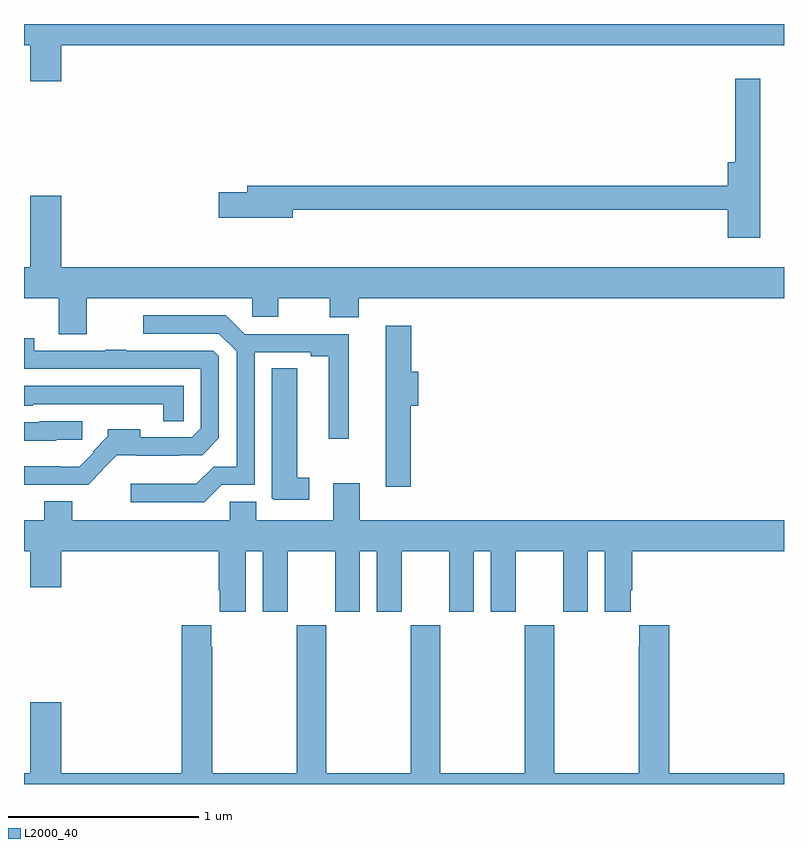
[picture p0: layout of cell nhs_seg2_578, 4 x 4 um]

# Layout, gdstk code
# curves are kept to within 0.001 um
import gdstk
lib = gdstk.Library(unit=1e-6, precision=1e-09)
def P(c, l, *ps):  # polygons
    for p in ps: c.add(gdstk.Polygon(p, *l))
L2000_40 = (2000, 40)

nhs_seg2_578 = lib.new_cell('nhs_seg2_578')
P(nhs_seg2_578, L2000_40, [(145,595.8),(141,595.8),(141,595.688),(141.032,595.688),(141.032,595.5),(141.196,595.5),(141.196,595.688),(145,595.688)],
  [(144.874,595.513),(144.743,595.513),(144.743,595.072),(144.704,595.072),(144.704,594.95),(142.175,594.95),(142.175,594.914),(142.026,594.914),(142.026,594.779),(142.414,594.779),(142.414,594.822),(144.704,594.822),(144.704,594.674),(144.874,594.674)],
  [(141.331,594.356),(142.2,594.356),(142.2,594.258),(142.339,594.258),(142.339,594.356),(142.61,594.356),(142.61,594.257),(142.763,594.257),(142.763,594.356),(145,594.356),(145,594.52),(141.196,594.52),(141.196,594.895),(141.032,594.895),(141.032,594.52),(141,594.52),(141,594.356),(141.184,594.356),(141.184,594.166),(141.331,594.166)],
  [(142.041,593.376),(142.215,593.376),(142.215,594.072),(142.508,594.072),(142.508,594.052),(142.604,594.052),(142.604,593.616),(142.708,593.616),(142.708,594.168),(142.162,594.168),(142.063,594.267),(141.627,594.267),(141.627,594.171),(142.026,594.171),(142.119,594.078),(142.119,593.471),(141.998,593.471),(141.907,593.38),(141.561,593.38),(141.561,593.283),(141.948,593.283)],
  [(143.036,593.792),(143.075,593.792),(143.075,593.97),(143.039,593.97),(143.039,594.211),(142.904,594.211),(142.904,593.364),(143.036,593.364)],
  [(141.415,593.453),(141.413,593.455),(141.487,593.529),(141.821,593.528),(141.821,593.53),(141.937,593.53),(142.026,593.619),(142.026,594.051),(141.996,594.081),(141.539,594.081),(141.539,594.086),(141.427,594.086),(141.427,594.081),(141.054,594.081),(141.054,594.145),(141,594.145),(141,593.985),(141.93,593.985),(141.93,593.673),(141.882,593.625),(141.613,593.625),(141.613,593.668),(141.442,593.668),(141.442,593.629),(141.363,593.55),(141.366,593.547),(141.29,593.471),(141.188,593.471),(141.188,593.473),(141,593.473),(141,593.376),(141.339,593.376)],
  [(142.501,593.411),(142.438,593.411),(142.438,593.987),(142.304,593.987),(142.304,593.305),(142.314,593.295),(142.501,593.295)],
  [(141.84,593.895),(141,593.895),(141,593.792),(141.045,593.792),(141.045,593.799),(141.477,593.799),(141.477,593.798),(141.732,593.798),(141.732,593.71),(141.84,593.71)],
  [(141.171,593.613),(141.306,593.613),(141.306,593.709),(141.081,593.709),(141.081,593.703),(141,593.703),(141,593.606),(141.171,593.606)],
  [(142.168,593.024),(142.256,593.024),(142.256,592.707),(142.387,592.707),(142.387,593.024),(142.637,593.024),(142.637,592.707),(142.768,592.707),(142.768,593.024),(142.856,593.024),(142.856,592.707),(142.987,592.707),(142.987,593.024),(143.237,593.024),(143.237,592.707),(143.368,592.707),(143.368,593.024),(143.456,593.024),(143.456,592.707),(143.587,592.707),(143.587,593.024),(143.837,593.024),(143.837,592.707),(143.968,592.707),(143.968,593.024),(144.056,593.024),(144.056,592.707),(144.193,592.707),(144.193,592.819),(144.2,592.819),(144.2,593.024),(145,593.024),(145,593.188),(142.768,593.188),(142.768,593.383),(142.628,593.383),(142.628,593.188),(142.222,593.188),(142.222,593.286),(142.083,593.286),(142.083,593.188),(141.255,593.188),(141.255,593.287),(141.107,593.287),(141.107,593.188),(141,593.188),(141,593.024),(141.032,593.024),(141.032,592.836),(141.196,592.836),(141.196,593.024),(142.025,593.024),(142.025,592.819),(142.031,592.819),(142.031,592.707),(142.168,592.707)],
  [(143.79,592.636),(143.635,592.636),(143.635,591.856),(143.19,591.856),(143.19,592.636),(143.035,592.636),(143.035,591.856),(142.59,591.856),(142.59,592.636),(142.435,592.636),(142.435,591.856),(141.99,591.856),(141.99,592.523),(141.985,592.523),(141.985,592.636),(141.83,592.636),(141.83,591.856),(141.196,591.856),(141.196,592.231),(141.032,592.231),(141.032,591.856),(141,591.856),(141,591.8),(145,591.8),(145,591.856),(144.395,591.856),(144.395,592.636),(144.239,592.636),(144.239,592.523),(144.235,592.523),(144.235,591.856),(143.79,591.856)])

lib.write_gds('nhs_seg2_578.gds')
